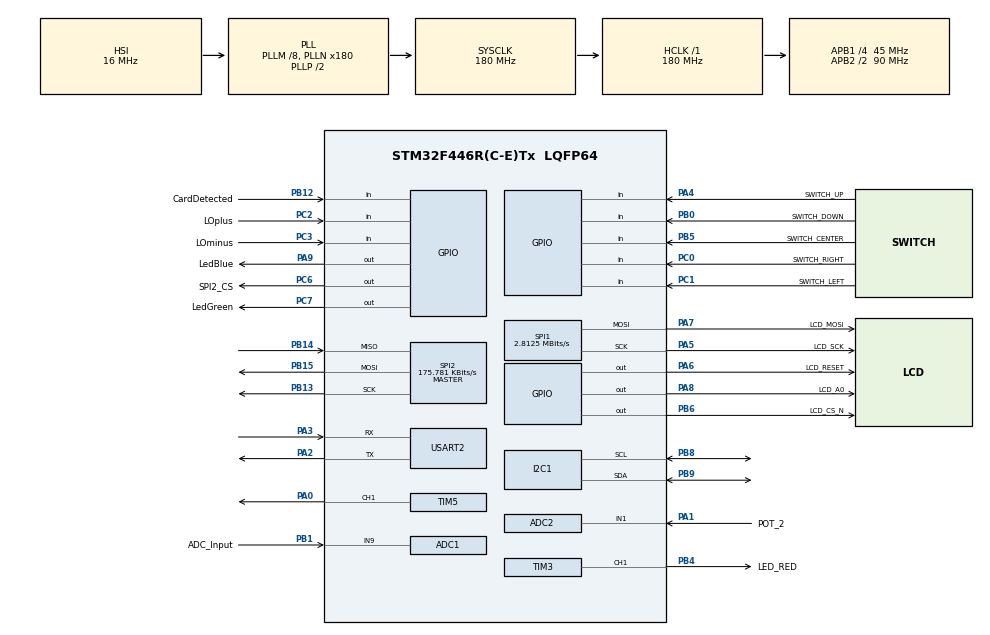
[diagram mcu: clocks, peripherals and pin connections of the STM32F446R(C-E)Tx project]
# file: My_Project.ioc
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ADC1.Channel-2\#ChannelRegularConversion=ADC_CHANNEL_9
ADC1.NbrOfConversionFlag=1
ADC1.Rank-2\#ChannelRegularConversion=1
ADC1.SamplingTime-2\#ChannelRegularConversion=ADC_SAMPLETIME_3CYCLES
ADC1.master=1
ADC2.Channel-0\#ChannelRegularConversion=ADC_CHANNEL_1
ADC2.ClockPrescaler=ADC_CLOCK_SYNC_PCLK_DIV4
ADC2.ContinuousConvMode=ENABLE
ADC2.DMAContinuousRequests=DISABLE
ADC2.DataAlign=ADC_DATAALIGN_RIGHT
ADC2.DiscontinuousConvMode=DISABLE
ADC2.EOCSelection=ADC_EOC_SEQ_CONV
ADC2.EnableAnalogWatchDog=false
ADC2.ExternalTrigConv=ADC_SOFTWARE_START
ADC2.ExternalTrigConvEdge=ADC_EXTERNALTRIGCONVEDGE_NONE
ADC2.InjNumberOfConversion=0
ADC2.NbrOfConversion=1
ADC2.NbrOfConversionFlag=1
ADC2.Rank-0\#ChannelRegularConversion=1
ADC2.Resolution=ADC_RESOLUTION_12B
ADC2.SamplingTime-0\#ChannelRegularConversion=ADC_SAMPLETIME_3CYCLES
ADC2.ScanConvMode=DISABLE
Dma.Request0=USART2_TX
Dma.Request1=USART2_RX
Dma.USART2_RX.1.Direction=DMA_PERIPH_TO_MEMORY
Dma.USART2_RX.1.FIFOMode=DMA_FIFOMODE_DISABLE
Dma.USART2_RX.1.Instance=DMA1_Stream5
Dma.USART2_RX.1.MemDataAlignment=DMA_MDATAALIGN_BYTE
Dma.USART2_RX.1.MemInc=DMA_MINC_ENABLE
Dma.USART2_RX.1.Mode=DMA_CIRCULAR
Dma.USART2_RX.1.PeriphDataAlignment=DMA_PDATAALIGN_BYTE
Dma.USART2_RX.1.PeriphInc=DMA_PINC_DISABLE
Dma.USART2_RX.1.Priority=DMA_PRIORITY_MEDIUM
Dma.USART2_TX.0.Direction=DMA_MEMORY_TO_PERIPH
Dma.USART2_TX.0.FIFOMode=DMA_FIFOMODE_DISABLE
Dma.USART2_TX.0.Instance=DMA1_Stream6
Dma.USART2_TX.0.MemDataAlignment=DMA_MDATAALIGN_BYTE
Dma.USART2_TX.0.MemInc=DMA_MINC_ENABLE
Dma.USART2_TX.0.Mode=DMA_NORMAL
Dma.USART2_TX.0.PeriphDataAlignment=DMA_PDATAALIGN_BYTE
Dma.USART2_TX.0.PeriphInc=DMA_PINC_DISABLE
Dma.USART2_TX.0.Priority=DMA_PRIORITY_MEDIUM
Mcu.Family=STM32F4
Mcu.Name=STM32F446R(C-E)Tx
Mcu.Package=LQFP64
NVIC.ADC_IRQn=true\:1\:0\:true\:false\:true\:true
NVIC.DMA1_Stream5_IRQn=true\:0\:0\:false\:false\:true\:false
NVIC.DMA1_Stream6_IRQn=true\:0\:0\:false\:false\:true\:false
NVIC.PriorityGroup=NVIC_PRIORITYGROUP_4
NVIC.TIM3_IRQn=true\:1\:0\:true\:false\:true\:true
NVIC.TIM5_IRQn=true\:1\:0\:true\:false\:true\:true
NVIC.USART2_IRQn=true\:2\:0\:true\:false\:true\:true
PA0-WKUP.Signal=S_TIM5_CH1
PA1.GPIO_Label=POT_2
PA1.Signal=ADCx_IN1
PA13.Mode=Serial_Wire
PA13.Signal=SYS_JTMS-SWDIO
PA14.Mode=Serial_Wire
PA14.Signal=SYS_JTCK-SWCLK
PA2.Mode=Asynchronous
PA2.Signal=USART2_TX
PA3.Mode=Asynchronous
PA3.Signal=USART2_RX
PA4.GPIO_Label=SWITCH_UP
PA4.Signal=GPIO_Input
PA5.GPIO_Label=LCD_SCK
PA5.Mode=TX_Only_Simplex_Unidirect_Master
PA5.Signal=SPI1_SCK
PA6.GPIO_Label=LCD_RESET
PA6.Signal=GPIO_Output
PA7.GPIO_Label=LCD_MOSI
PA7.Mode=TX_Only_Simplex_Unidirect_Master
PA7.Signal=SPI1_MOSI
PA8.GPIO_Label=LCD_A0
PA8.Signal=GPIO_Output
PA9.GPIO_Label=LedBlue
PA9.GPIO_Speed=GPIO_SPEED_FREQ_HIGH
PA9.PinState=GPIO_PIN_RESET
PA9.Signal=GPIO_Output
PB0.GPIO_Label=SWITCH_DOWN
PB0.Signal=GPIO_Input
PB1.GPIO_Label=ADC_Input
PB1.Signal=ADCx_IN9
PB12.GPIO_Label=CardDetected
PB12.Signal=GPIO_Input
PB13.Mode=Full_Duplex_Master
PB13.Signal=SPI2_SCK
PB14.Mode=Full_Duplex_Master
PB14.Signal=SPI2_MISO
PB15.Mode=Full_Duplex_Master
PB15.Signal=SPI2_MOSI
PB4.GPIO_Label=LED_RED
PB4.Signal=S_TIM3_CH1
PB5.GPIO_Label=SWITCH_CENTER
PB5.Signal=GPIO_Input
PB6.GPIO_Label=LCD_CS_N
PB6.Signal=GPIO_Output
PB8.Mode=I2C
PB8.Signal=I2C1_SCL
PB9.Mode=I2C
PB9.Signal=I2C1_SDA
PC0.GPIO_Label=SWITCH_RIGHT
PC0.Signal=GPIO_Input
PC1.GPIO_Label=SWITCH_LEFT
PC1.Signal=GPIO_Input
PC2.GPIO_Label=LOplus
PC2.Signal=GPIO_Input
PC3.GPIO_Label=LOminus
PC3.Signal=GPIO_Input
PC6.GPIO_Label=SPI2_CS
PC6.Signal=GPIO_Output
PC7.GPIO_Label=LedGreen
PC7.Signal=GPIO_Output
PH0-OSC_IN.Mode=HSE-External-Oscillator
PH0-OSC_IN.Signal=RCC_OSC_IN
PH1-OSC_OUT.Mode=HSE-External-Oscillator
PH1-OSC_OUT.Signal=RCC_OSC_OUT
ProjectManager.HeapSize=0x200
ProjectManager.StackSize=0x400
ProjectManager.TargetToolchain=MDK-ARM V5
RCC.AHBFreq_Value=180000000
RCC.APB1CLKDivider=RCC_HCLK_DIV4
RCC.APB1Freq_Value=45000000
RCC.APB1TimFreq_Value=90000000
RCC.APB2CLKDivider=RCC_HCLK_DIV2
RCC.APB2Freq_Value=90000000
RCC.APB2TimFreq_Value=180000000
RCC.CortexFreq_Value=180000000
RCC.HCLKFreq_Value=180000000
RCC.PLLM=8
RCC.PLLN=180
RCC.SYSCLKFreq_VALUE=180000000
RCC.SYSCLKSource=RCC_SYSCLKSOURCE_PLLCLK
RCC.USBFreq_Value=180000000
RCC.VCOOutputFreq_Value=360000000
SH.ADCx_IN1.0=ADC2_IN1,IN1
SH.ADCx_IN9.0=ADC1_IN9,IN9
SH.S_TIM3_CH1.0=TIM3_CH1,Output Compare1 CH1
SH.S_TIM5_CH1.0=TIM5_CH1,Output Compare1 CH1
SPI1.BaudRatePrescaler=SPI_BAUDRATEPRESCALER_32
SPI1.CalculateBaudRate=2.8125 MBits/s
SPI1.Direction=SPI_DIRECTION_2LINES
SPI1.Mode=SPI_MODE_MASTER
SPI1.VirtualType=VM_MASTER
SPI2.BaudRatePrescaler=SPI_BAUDRATEPRESCALER_256
SPI2.CLKPhase=SPI_PHASE_1EDGE
SPI2.CLKPolarity=SPI_POLARITY_LOW
SPI2.CalculateBaudRate=175.781 KBits/s
SPI2.Direction=SPI_DIRECTION_2LINES
SPI2.Mode=SPI_MODE_MASTER
SPI2.VirtualType=VM_MASTER
TIM3.Channel-Output\ Compare1\ CH1=TIM_CHANNEL_1
TIM3.OCPolarity_1=TIM_OCPOLARITY_LOW
TIM3.Period=100-1
TIM3.Prescaler=9000-1
TIM5.Channel-Output\ Compare1\ CH1=TIM_CHANNEL_1
TIM5.Period=100
TIM5.Prescaler=4500-1
USART2.VirtualMode=VM_ASYNC
VP_TIM3_VS_ClockSourceINT.Mode=Internal
VP_TIM5_VS_ClockSourceINT.Mode=Internal
board=custom

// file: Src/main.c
/**
  ******************************************************************************
  * @file           : main.c
  * @brief          : Main program body
  ******************************************************************************
  ** This notice applies to any and all portions of this file
  * that are not between comment pairs USER CODE BEGIN and
  * USER CODE END. Other portions of this file, whether
  * inserted by the user or by software development tools
  * are owned by their respective copyright owners.
  *
  * COPYRIGHT(c) 2018 STMicroelectronics
  *
  * Redistribution and use in source and binary forms, with or without modification,
  * are permitted provided that the following conditions are met:
  *   1. Redistributions of source code must retain the above copyright notice,
  *      this list of conditions and the following disclaimer.
  *   2. Redistributions in binary form must reproduce the above copyright notice,
  *      this list of conditions and the following disclaimer in the documentation
  *      and/or other materials provided with the distribution.
  *   3. Neither the name of STMicroelectronics nor the names of its contributors
  *      may be used to endorse or promote products derived from this software
  *      without specific prior written permission.
  *
  * THIS SOFTWARE IS PROVIDED BY THE COPYRIGHT HOLDERS AND CONTRIBUTORS "AS IS"
  * AND ANY EXPRESS OR IMPLIED WARRANTIES, INCLUDING, BUT NOT LIMITED TO, THE
  * IMPLIED WARRANTIES OF MERCHANTABILITY AND FITNESS FOR A PARTICULAR PURPOSE ARE
  * DISCLAIMED. IN NO EVENT SHALL THE COPYRIGHT HOLDER OR CONTRIBUTORS BE LIABLE
  * FOR ANY DIRECT, INDIRECT, INCIDENTAL, SPECIAL, EXEMPLARY, OR CONSEQUENTIAL
  * DAMAGES (INCLUDING, BUT NOT LIMITED TO, PROCUREMENT OF SUBSTITUTE GOODS OR
  * SERVICES; LOSS OF USE, DATA, OR PROFITS; OR BUSINESS INTERRUPTION) HOWEVER
  * CAUSED AND ON ANY THEORY OF LIABILITY, WHETHER IN CONTRACT, STRICT LIABILITY,
  * OR TORT (INCLUDING NEGLIGENCE OR OTHERWISE) ARISING IN ANY WAY OUT OF THE USE
  * OF THIS SOFTWARE, EVEN IF ADVISED OF THE POSSIBILITY OF SUCH DAMAGE.
  *
  ******************************************************************************
  */
#include "main.h"
#include "stm32f4xx_hal.h"
#include "adc.h"
#include "dma.h"
#include "i2c.h"
#include "spi.h"
#include "tim.h"
#include "usart.h"
#include "gpio.h"

/* USER CODE BEGIN Includes */
#include "joystick.h"
#include "lcd_menu.h"
#include "lcd_menu_definition.h"
#include "stdio.h"
#include "string.h"
#include "stdbool.h"
#include "structs_pincinato.h"
#include "lcd_pincinato.h"
#include "interrupt_TIMER_pincinato.h"
#include "interface_ACCEL_pincinato.h"
#include "interface_ECG_pincinato.h"
#include "interface_USART_pincinato.h"
#include "interface_ANALYSIS_pincinato.h"
#include "interface_SDCARD_pincinato.h"
/* USER CODE END Includes */

/* USER CODE BEGIN PV */

//TEST
typedef struct MainProcessData_{

	char bufHR[9];
	char bufActivity[9];
	double distance;
	float HeartRate;

} MainProcessData;

typedef struct AppData_{
	MainProcessData current;
	MainProcessData previous;
} AppData;

volatile uint32_t msMenuTicks=0;
static AppData myData;
static int MainEvent;
static int last_MainEvent;
//
static bool sdCardStatus;
Table myTable;
/* Private variables ---------------------------------------------------------*/
//#define POT_1_HANDLE hadc1
#define POT_2_HANDLE hadc2

void drawMenuItem_Callback2(int event, void* data);
void handleEvent(int event, AppData *data);
void updateData(AppData *data);
/* USER CODE END PV */

void SystemClock_Config(void);

/* USER CODE BEGIN PFP */
/* Private function prototypes -----------------------------------------------*/
void ClearString(void);
/* USER CODE END PFP */

int main(void)
{

  /* MCU Configuration----------------------------------------------------------*/

  /* Reset of all peripherals, Initializes the Flash interface and the Systick. */
  HAL_Init();

  /* Configure the system clock */
  SystemClock_Config();

  /* Initialize all configured peripherals */
  MX_GPIO_Init();
  MX_DMA_Init();
  MX_SPI1_Init();
  MX_USART2_UART_Init();
  MX_ADC2_Init();
  MX_TIM3_Init();
  MX_TIM5_Init();
  MX_I2C1_Init();
  MX_ADC1_Init();
  MX_SPI2_Init();

  /* Infinite loop */
  /* USER CODE BEGIN WHILE */

	//Init Pincinato's Interface
	sdCardStatus=initSDCARDInterface();
	initTable(&myTable);
	if(sdCardStatus){
		loadTableValues(&myTable);
		myTable.sdCardStatus=sdCardStatus;
	}
	initInterface(&myTable,&huart2);
	initANALYSISInterface(&myTable);
	initLCD();
	initECGInterface();
	initACCELInterface();
	lcd_clear();
	lcd_setString(2,10," Start ",LCD_FONT_8,false);
	lcd_show();
	HAL_GPIO_WritePin(LedBlue_GPIO_Port,LedBlue_Pin,GPIO_PIN_SET);
	HAL_GPIO_WritePin(LedGreen_GPIO_Port,LedGreen_Pin,GPIO_PIN_SET);
	HAL_Delay(100);
	lcd_clear();

	//Menu initialization
	menu_setMainMenu(&mainMenu);
	Joystick joystick;
  Joystick_init(&joystick);
  menu_navigation nextNavigation = MENU_NOP;
	menu_event event = MENU_NO_EVENT;
	menu_registerDrawMenuItem2(drawMenuItem_Callback2, (void *) &myData);
	//
  while (1)
  {
  /* USER CODE END WHILE */

  /* USER CODE BEGIN 3 */

		joystick.sample(&joystick);
		updateData(&myData);
		if (msMenuTicks >= 100) {  // LCD display ok with 50ms, otherwise stray characters
			msMenuTicks = 0;
      nextNavigation = (menu_navigation) joystick.getDirection(&joystick);
      event = menu_update(nextNavigation);
			menu_show();
			handleEvent((int) event, &myData);
		}
	}
  /* USER CODE END 3 */

}

void SystemClock_Config(void)
{

  RCC_OscInitTypeDef RCC_OscInitStruct;
  RCC_ClkInitTypeDef RCC_ClkInitStruct;

    /**Configure the main internal regulator output voltage
    */
  __HAL_RCC_PWR_CLK_ENABLE();

  __HAL_PWR_VOLTAGESCALING_CONFIG(PWR_REGULATOR_VOLTAGE_SCALE1);

    /**Initializes the CPU, AHB and APB busses clocks
    */
  RCC_OscInitStruct.OscillatorType = RCC_OSCILLATORTYPE_HSI;
  RCC_OscInitStruct.HSIState = RCC_HSI_ON;
  RCC_OscInitStruct.HSICalibrationValue = 16;
  RCC_OscInitStruct.PLL.PLLState = RCC_PLL_ON;
  RCC_OscInitStruct.PLL.PLLSource = RCC_PLLSOURCE_HSI;
  RCC_OscInitStruct.PLL.PLLM = 8;
  RCC_OscInitStruct.PLL.PLLN = 180;
  RCC_OscInitStruct.PLL.PLLP = RCC_PLLP_DIV2;
  RCC_OscInitStruct.PLL.PLLQ = 2;
  RCC_OscInitStruct.PLL.PLLR = 2;
  if (HAL_RCC_OscConfig(&RCC_OscInitStruct) != HAL_OK)
  {
    _Error_Handler(__FILE__, __LINE__);
  }

    /**Activate the Over-Drive mode
    */
  if (HAL_PWREx_EnableOverDrive() != HAL_OK)
  {
    _Error_Handler(__FILE__, __LINE__);
  }

    /**Initializes the CPU, AHB and APB busses clocks
    */
  RCC_ClkInitStruct.ClockType = RCC_CLOCKTYPE_HCLK|RCC_CLOCKTYPE_SYSCLK
                              |RCC_CLOCKTYPE_PCLK1|RCC_CLOCKTYPE_PCLK2;
  RCC_ClkInitStruct.SYSCLKSource = RCC_SYSCLKSOURCE_PLLCLK;
  RCC_ClkInitStruct.AHBCLKDivider = RCC_SYSCLK_DIV1;
  RCC_ClkInitStruct.APB1CLKDivider = RCC_HCLK_DIV4;
  RCC_ClkInitStruct.APB2CLKDivider = RCC_HCLK_DIV2;

  if (HAL_RCC_ClockConfig(&RCC_ClkInitStruct, FLASH_LATENCY_5) != HAL_OK)
  {
    _Error_Handler(__FILE__, __LINE__);
  }

    /**Configure the Systick interrupt time
    */
  HAL_SYSTICK_Config(HAL_RCC_GetHCLKFreq()/1000);

    /**Configure the Systick
    */
  HAL_SYSTICK_CLKSourceConfig(SYSTICK_CLKSOURCE_HCLK);

  /* SysTick_IRQn interrupt configuration */
  HAL_NVIC_SetPriority(SysTick_IRQn, 0, 0);
}

/* USER CODE BEGIN 4 */

void drawMenuItem_Callback2(int event, void* data){

	char buf[30]="";
	last_MainEvent=MainEvent;
	MainEvent=event;
  AppData* ad = data; //!< Convert to our application data structure
	if(last_MainEvent == MainEvent){
			switch (MainEvent) {
			case 1:  sprintf(buf, "%.5f g",ad->current.distance);
								lcd_setString(12,10,(const char*) &buf,LCD_FONT_8,false);
				break;
			case 2:		sprintf(buf, "%d          ",(uint32_t)ad->current.HeartRate);
								lcd_setString(20,10,(const char*) &buf,LCD_FONT_8,false);
				break;
			case 3:	lcd_setString(20,10,"        ",LCD_FONT_8,false);
							lcd_setString(20,10,(const char*) &ad->current.bufHR,LCD_FONT_8,false);
							lcd_setString(28,20,"        ",LCD_FONT_8,false);
							lcd_setString(28,20,(const char*) &ad->current.bufActivity,LCD_FONT_8,false);
				break;
			case 4:
				break;
			default:
				break;
		}
	}
	if (last_MainEvent != MainEvent){
		switch (MainEvent) {
			case 1: lcd_setString(2,10, "Calibrating ...   ",LCD_FONT_8,false);
							lcd_show();
				break;
			case 2: lcd_setString(2,10, "Doing 1 measure     ",LCD_FONT_8,false);
							lcd_show();
			case 3:	lcd_setString(2,10, "Calibrating ...",LCD_FONT_8,false);
							lcd_show();
				break;
			case 4: lcd_setString(2,10, "Usb connection",LCD_FONT_8,false);
							lcd_show();
				break;
			default:
				break;
		}
	}
}

/**
* @param event The menu event to be handled
* @param *data Pointer to the application data
*/
void handleEvent(int event, AppData *data) {
}

/**
* Updates all data
* @param data Pointer to application data
*/
void updateData(AppData *data) {

	double distance=0.0;
	float HeartRate=0.0;
	char bufHR[9]="";
	char bufActivity[9]="";
	bool abnormality;

	if(last_MainEvent != MainEvent){
		switch (last_MainEvent) {
		case 1: stopACCELInterface();
			break;
		case 2:	stopECGInterface();
			break;
		case 3: stopANALYSISInterface();
						HAL_GPIO_WritePin(LedBlue_GPIO_Port,LedBlue_Pin,GPIO_PIN_SET);
						HAL_GPIO_WritePin(LedGreen_GPIO_Port,LedGreen_Pin,GPIO_PIN_SET);
			break;
		case 4:	myTable.sdCardStatus=saveTableValues(&myTable);
			break;
		default:stopACCELInterface();
						stopECGInterface();
						stopANALYSISInterface();
			break;
		}
		switch (MainEvent) {
		case 1: startACCELInterface();
						data->current.distance=0;
						lcd_setString(2,10, "Y:              ",LCD_FONT_8,false);
						lcd_show();
			break;
		case 2:	startECGInterface();
						lcd_setString(2,10, "HR:              ",LCD_FONT_8,false);
						lcd_show();
			break;
		case 3: startANALYSISInterface();
						HAL_GPIO_WritePin(LedGreen_GPIO_Port,LedGreen_Pin,GPIO_PIN_RESET);
						lcd_setString(2,10, "HR:              ",LCD_FONT_8,false);
						lcd_setString(2,20, "Act:              ",LCD_FONT_8,false);
						lcd_show();
			break;
		default:
			break;
		}
	}
	switch (MainEvent) {
		case 1: readAccel();
						if(getDistance(&distance)){
							if(distance!=data->current.distance ){
								data->current.distance=distance+data->previous.distance;// +data->previous.distance;
							}
						}
			break;
		case 2:	if(updateHeartRate(&HeartRate)){
							if(HeartRate!=data->current.HeartRate){
								data->current.HeartRate=HeartRate;
							}
						}
			break;
		case 3: if(getAnalysis(&bufHR[0],&bufActivity[0],&abnormality)){
							strcpy(data->current.bufHR,bufHR);
							strcpy(data->current.bufActivity,bufActivity);
							if(abnormality){
								HAL_GPIO_WritePin(LedGreen_GPIO_Port,LedGreen_Pin,GPIO_PIN_SET);
								HAL_GPIO_WritePin(LedBlue_GPIO_Port,LedBlue_Pin,GPIO_PIN_RESET);
							}
						}
			break;
		case 4: check_RX();
			break;
		default:
			break;
		}
  // Keep all data of last process image
	data->previous = data->current;

}

void HAL_SYSTICK_Callback(void) {
	msMenuTicks++;
}
/* USER CODE END 4 */

void _Error_Handler(char *file, int line)
{
  while(1)
  {
  }
}

/************************ (C) COPYRIGHT STMicroelectronics *****END OF FILE****/
